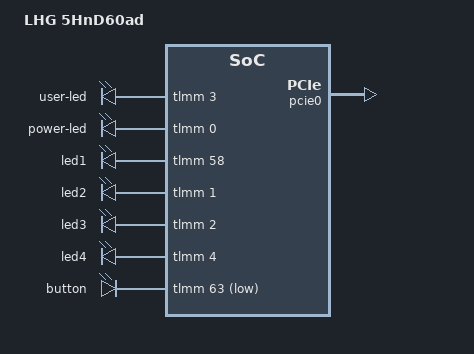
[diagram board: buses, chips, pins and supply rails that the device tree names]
/dts-v1/;
#define BIG_DK
#include "ipq40xx.dtsi"

/ {
	model = "LHG 5HnD60ad";
	leds {
		compatible = "leds-rb";
		user-led {
			gpios = <&tlmm 3 GPIO_ACTIVE_HIGH>;
		};
		power-led {
			gpios = <&tlmm 0 GPIO_ACTIVE_HIGH>;
			default-state = "keep";
		};
		led1 {
			gpios = <&tlmm 58 GPIO_ACTIVE_HIGH>;
		};
		led2 {
			gpios = <&tlmm 1 GPIO_ACTIVE_HIGH>;
		};
		led3 {
			gpios = <&tlmm 2 GPIO_ACTIVE_HIGH>;
		};
		led4 {
			gpios = <&tlmm 4 GPIO_ACTIVE_HIGH>;
		};
		button {
			gpios = <&tlmm 63 GPIO_ACTIVE_LOW>;
			default-state = "input";
		};
	};
};

&edma {
	port_map = <0x100004 (-1)>;
};

&pcie0 {
	perst-gpio = <&tlmm 42 GPIO_ACTIVE_HIGH>;
	status = "ok";
};
